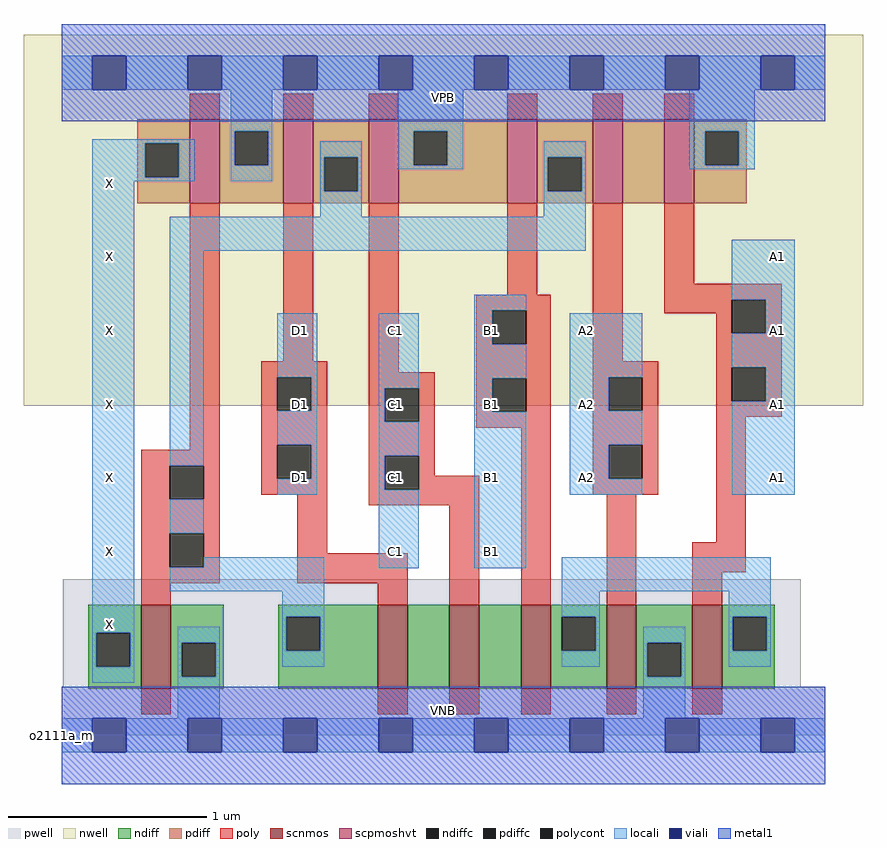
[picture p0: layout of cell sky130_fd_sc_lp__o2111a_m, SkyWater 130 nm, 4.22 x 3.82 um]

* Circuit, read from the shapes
.subckt sky130_fd_sc_lp__o2111a_m A1 A2 B1 C1 D1 VGND VNB VPB VPWR X
XM1 VGND n1 X VNB sky130_fd_pr__nfet_01v8 w=0.42 l=0.15
XM2 n2 D1 n1 VNB sky130_fd_pr__nfet_01v8 w=0.42 l=0.15
XM3 n3 C1 n2 VNB sky130_fd_pr__nfet_01v8 w=0.42 l=0.15
XM4 n4 B1 n3 VNB sky130_fd_pr__nfet_01v8 w=0.42 l=0.15
XM5 VGND A2 n4 VNB sky130_fd_pr__nfet_01v8 w=0.42 l=0.15
XM6 n4 A1 VGND VNB sky130_fd_pr__nfet_01v8 w=0.42 l=0.15
XM7 VPWR n1 X VPB sky130_fd_pr__pfet_01v8_hvt w=0.42 l=0.15
XM8 n1 D1 VPWR VPB sky130_fd_pr__pfet_01v8_hvt w=0.42 l=0.15
XM9 VPWR C1 n1 VPB sky130_fd_pr__pfet_01v8_hvt w=0.42 l=0.15
XM10 n1 B1 VPWR VPB sky130_fd_pr__pfet_01v8_hvt w=0.42 l=0.15
XM11 n5 A2 n1 VPB sky130_fd_pr__pfet_01v8_hvt w=0.42 l=0.15
XM12 VPWR A1 n5 VPB sky130_fd_pr__pfet_01v8_hvt w=0.42 l=0.15
.ends

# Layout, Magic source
magic
tech sky130A
magscale 1 2
<< nwell >>
rect -38 331 806 704
<< pwell >>
rect 1 49 743 157
rect 0 0 768 49
<< scnmos >>
rect 80 47 110 131
rect 318 47 348 131
rect 390 47 420 131
rect 462 47 492 131
rect 548 47 578 131
rect 634 47 664 131
<< scpmoshvt >>
rect 129 535 159 619
rect 223 535 253 619
rect 309 535 339 619
rect 448 535 478 619
rect 534 535 564 619
rect 606 535 636 619
<< ndiff >>
rect 27 103 80 131
rect 27 69 35 103
rect 69 69 80 103
rect 27 47 80 69
rect 110 93 163 131
rect 110 59 121 93
rect 155 59 163 93
rect 110 47 163 59
rect 218 119 318 131
rect 218 85 226 119
rect 260 85 318 119
rect 218 47 318 85
rect 348 47 390 131
rect 420 47 462 131
rect 492 119 548 131
rect 492 85 503 119
rect 537 85 548 119
rect 492 47 548 85
rect 578 93 634 131
rect 578 59 589 93
rect 623 59 634 93
rect 578 47 634 59
rect 664 119 717 131
rect 664 85 675 119
rect 709 85 717 119
rect 664 47 717 85
<< pdiff >>
rect 76 595 129 619
rect 76 561 84 595
rect 118 561 129 595
rect 76 535 129 561
rect 159 607 223 619
rect 159 573 174 607
rect 208 573 223 607
rect 159 535 223 573
rect 253 581 309 619
rect 253 547 264 581
rect 298 547 309 581
rect 253 535 309 547
rect 339 607 448 619
rect 339 573 354 607
rect 388 573 448 607
rect 339 535 448 573
rect 478 581 534 619
rect 478 547 489 581
rect 523 547 534 581
rect 478 535 534 547
rect 564 535 606 619
rect 636 607 689 619
rect 636 573 647 607
rect 681 573 689 607
rect 636 535 689 573
<< ndiffc >>
rect 35 69 69 103
rect 121 59 155 93
rect 226 85 260 119
rect 503 85 537 119
rect 589 59 623 93
rect 675 85 709 119
<< pdiffc >>
rect 84 561 118 595
rect 174 573 208 607
rect 264 547 298 581
rect 354 573 388 607
rect 489 547 523 581
rect 647 573 681 607
<< poly >>
rect 129 619 159 645
rect 223 619 253 645
rect 309 619 339 645
rect 448 619 478 645
rect 534 619 564 645
rect 606 619 636 645
rect 129 287 159 535
rect 223 376 253 535
rect 80 271 159 287
rect 80 237 109 271
rect 143 237 159 271
rect 201 360 267 376
rect 201 326 217 360
rect 251 326 267 360
rect 201 292 267 326
rect 201 258 217 292
rect 251 258 267 292
rect 201 242 267 258
rect 80 203 159 237
rect 80 169 109 203
rect 143 169 159 203
rect 80 153 159 169
rect 237 183 267 242
rect 309 365 339 535
rect 448 443 478 535
rect 417 427 492 443
rect 417 393 433 427
rect 467 393 492 427
rect 309 349 375 365
rect 309 315 325 349
rect 359 315 375 349
rect 309 281 375 315
rect 417 359 492 393
rect 417 325 433 359
rect 467 325 492 359
rect 417 309 492 325
rect 309 247 325 281
rect 359 261 375 281
rect 359 247 420 261
rect 309 231 420 247
rect 237 153 348 183
rect 80 131 110 153
rect 318 131 348 153
rect 390 131 420 231
rect 462 131 492 309
rect 534 376 564 535
rect 606 454 636 535
rect 606 438 724 454
rect 606 424 674 438
rect 658 404 674 424
rect 708 404 724 438
rect 534 360 600 376
rect 534 326 550 360
rect 584 326 600 360
rect 534 292 600 326
rect 534 258 550 292
rect 584 258 600 292
rect 534 242 600 258
rect 658 370 724 404
rect 658 336 674 370
rect 708 336 724 370
rect 658 320 724 336
rect 548 131 578 242
rect 658 194 688 320
rect 634 164 688 194
rect 634 131 664 164
rect 80 21 110 47
rect 318 21 348 47
rect 390 21 420 47
rect 462 21 492 47
rect 548 21 578 47
rect 634 21 664 47
<< polycont >>
rect 109 237 143 271
rect 217 326 251 360
rect 217 258 251 292
rect 109 169 143 203
rect 433 393 467 427
rect 325 315 359 349
rect 433 325 467 359
rect 325 247 359 281
rect 674 404 708 438
rect 550 326 584 360
rect 550 258 584 292
rect 674 336 708 370
<< locali >>
rect 0 649 31 683
rect 65 649 127 683
rect 161 649 223 683
rect 257 649 319 683
rect 353 649 415 683
rect 449 649 511 683
rect 545 649 607 683
rect 641 649 703 683
rect 737 649 768 683
rect 170 607 212 649
rect 31 595 134 599
rect 31 561 84 595
rect 118 561 134 595
rect 31 557 134 561
rect 170 573 174 607
rect 208 573 212 607
rect 338 607 404 649
rect 170 557 212 573
rect 260 581 302 597
rect 31 103 73 557
rect 260 547 264 581
rect 298 547 302 581
rect 338 573 354 607
rect 388 573 404 607
rect 631 607 697 649
rect 338 569 404 573
rect 485 581 527 597
rect 260 521 302 547
rect 485 547 489 581
rect 523 547 527 581
rect 631 573 647 607
rect 681 573 697 607
rect 631 569 697 573
rect 485 521 527 547
rect 109 487 527 521
rect 109 271 143 487
rect 415 427 467 443
rect 217 360 257 424
rect 251 326 257 360
rect 217 292 257 326
rect 251 258 257 292
rect 217 242 257 258
rect 319 349 359 424
rect 319 315 325 349
rect 319 281 359 315
rect 319 247 325 281
rect 109 203 143 237
rect 143 169 264 179
rect 109 145 264 169
rect 319 168 359 247
rect 415 393 433 427
rect 674 438 737 498
rect 415 359 467 393
rect 415 325 433 359
rect 415 168 467 325
rect 511 360 584 424
rect 511 326 550 360
rect 511 292 584 326
rect 511 258 550 292
rect 511 242 584 258
rect 708 404 737 438
rect 674 370 737 404
rect 708 336 737 370
rect 674 242 737 336
rect 222 119 264 145
rect 31 69 35 103
rect 69 69 73 103
rect 31 53 73 69
rect 117 93 159 109
rect 117 59 121 93
rect 155 59 159 93
rect 222 85 226 119
rect 260 85 264 119
rect 222 69 264 85
rect 503 145 713 179
rect 503 119 541 145
rect 537 85 541 119
rect 671 119 713 145
rect 503 69 541 85
rect 585 93 627 109
rect 117 17 159 59
rect 585 59 589 93
rect 623 59 627 93
rect 671 85 675 119
rect 709 85 713 119
rect 671 69 713 85
rect 585 17 627 59
rect 0 -17 31 17
rect 65 -17 127 17
rect 161 -17 223 17
rect 257 -17 319 17
rect 353 -17 415 17
rect 449 -17 511 17
rect 545 -17 607 17
rect 641 -17 703 17
rect 737 -17 768 17
<< viali >>
rect 31 649 65 683
rect 127 649 161 683
rect 223 649 257 683
rect 319 649 353 683
rect 415 649 449 683
rect 511 649 545 683
rect 607 649 641 683
rect 703 649 737 683
rect 31 -17 65 17
rect 127 -17 161 17
rect 223 -17 257 17
rect 319 -17 353 17
rect 415 -17 449 17
rect 511 -17 545 17
rect 607 -17 641 17
rect 703 -17 737 17
<< metal1 >>
rect 0 683 768 715
rect 0 649 31 683
rect 65 649 127 683
rect 161 649 223 683
rect 257 649 319 683
rect 353 649 415 683
rect 449 649 511 683
rect 545 649 607 683
rect 641 649 703 683
rect 737 649 768 683
rect 0 617 768 649
rect 0 17 768 49
rect 0 -17 31 17
rect 65 -17 127 17
rect 161 -17 223 17
rect 257 -17 319 17
rect 353 -17 415 17
rect 449 -17 511 17
rect 545 -17 607 17
rect 641 -17 703 17
rect 737 -17 768 17
rect 0 -49 768 -17
<< labels >>
flabel pwell s 0 0 768 49 0 FreeSans 200 0 0 0 VNB
port 7 nsew ground bidirectional
flabel nwell s 0 617 768 666 0 FreeSans 200 0 0 0 VPB
port 8 nsew power bidirectional
rlabel comment s 0 0 0 0 4 o2111a_m
flabel metal1 s 0 617 768 666 0 FreeSans 340 0 0 0 VPWR
port 9 nsew power bidirectional
flabel metal1 s 0 0 768 49 0 FreeSans 340 0 0 0 VGND
port 6 nsew ground bidirectional
flabel locali s 511 242 545 276 0 FreeSans 340 0 0 0 A2
port 2 nsew signal input
flabel locali s 511 316 545 350 0 FreeSans 340 0 0 0 A2
port 2 nsew signal input
flabel locali s 511 390 545 424 0 FreeSans 340 0 0 0 A2
port 2 nsew signal input
flabel locali s 415 168 449 202 0 FreeSans 340 0 0 0 B1
port 3 nsew signal input
flabel locali s 415 242 449 276 0 FreeSans 340 0 0 0 B1
port 3 nsew signal input
flabel locali s 415 316 449 350 0 FreeSans 340 0 0 0 B1
port 3 nsew signal input
flabel locali s 415 390 449 424 0 FreeSans 340 0 0 0 B1
port 3 nsew signal input
flabel locali s 223 242 257 276 0 FreeSans 340 0 0 0 D1
port 5 nsew signal input
flabel locali s 223 316 257 350 0 FreeSans 340 0 0 0 D1
port 5 nsew signal input
flabel locali s 223 390 257 424 0 FreeSans 340 0 0 0 D1
port 5 nsew signal input
flabel locali s 703 242 737 276 0 FreeSans 340 0 0 0 A1
port 1 nsew signal input
flabel locali s 703 316 737 350 0 FreeSans 340 0 0 0 A1
port 1 nsew signal input
flabel locali s 703 390 737 424 0 FreeSans 340 0 0 0 A1
port 1 nsew signal input
flabel locali s 703 464 737 498 0 FreeSans 340 0 0 0 A1
port 1 nsew signal input
flabel locali s 319 168 353 202 0 FreeSans 340 0 0 0 C1
port 4 nsew signal input
flabel locali s 319 242 353 276 0 FreeSans 340 0 0 0 C1
port 4 nsew signal input
flabel locali s 319 316 353 350 0 FreeSans 340 0 0 0 C1
port 4 nsew signal input
flabel locali s 319 390 353 424 0 FreeSans 340 0 0 0 C1
port 4 nsew signal input
flabel locali s 31 94 65 128 0 FreeSans 340 0 0 0 X
port 10 nsew signal output
flabel locali s 31 168 65 202 0 FreeSans 340 0 0 0 X
port 10 nsew signal output
flabel locali s 31 242 65 276 0 FreeSans 340 0 0 0 X
port 10 nsew signal output
flabel locali s 31 316 65 350 0 FreeSans 340 0 0 0 X
port 10 nsew signal output
flabel locali s 31 390 65 424 0 FreeSans 340 0 0 0 X
port 10 nsew signal output
flabel locali s 31 464 65 498 0 FreeSans 340 0 0 0 X
port 10 nsew signal output
flabel locali s 31 538 65 572 0 FreeSans 340 0 0 0 X
port 10 nsew signal output
<< properties >>
string LEFsite unit
string LEFclass CORE
string FIXED_BBOX 0 0 768 666
string GDS_FILE $PDKPATH/libs.ref/sky130_fd_sc_lp/gds/sky130_fd_sc_lp.gds
string LEFsymmetry X Y R90
string GDS_END 4232210
string GDS_START 4223222
<< end >>
